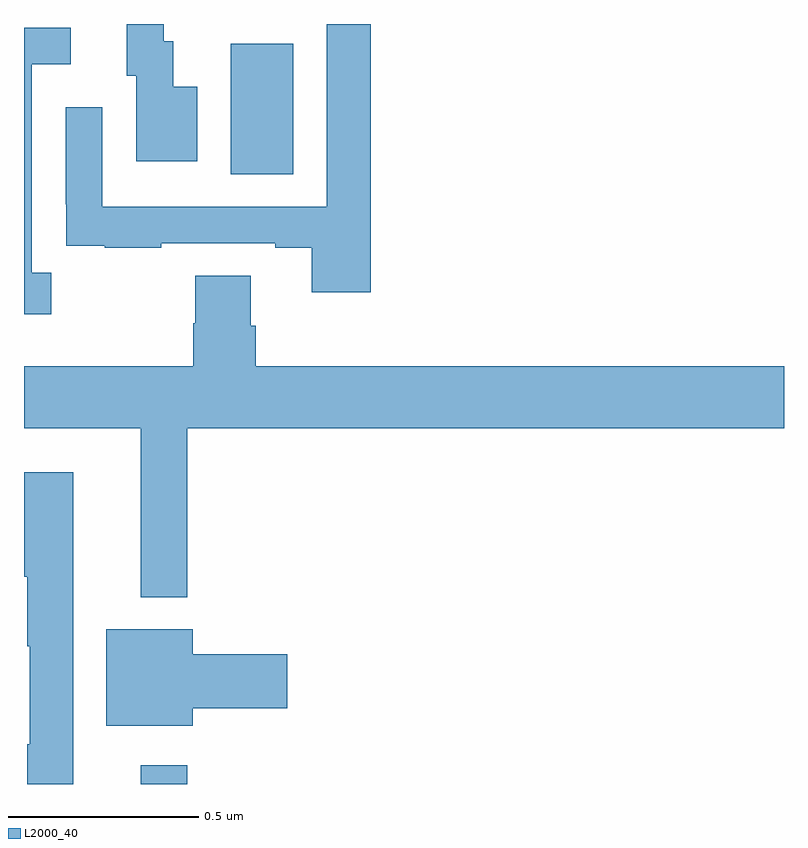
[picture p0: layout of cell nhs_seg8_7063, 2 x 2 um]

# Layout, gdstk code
import gdstk
lib = gdstk.Library(unit=1e-6, precision=1e-09)
def R(c, l, rs):  # rectangles x0, y0, x1, y1
    for r in rs: c.add(gdstk.rectangle(r[:2], r[2:], *l))
def P(c, l, *ps):  # polygons
    for p in ps: c.add(gdstk.Polygon(p, *l))
L2000_40 = (2000, 40)

nhs_seg8_7063 = lib.new_cell('nhs_seg8_7063')
R(nhs_seg8_7063, L2000_40, [(205.307,1112.9,205.429,1112.95), (205.544,1114.504,205.708,1114.848)])
P(nhs_seg8_7063, L2000_40, [(205.913,1114.9),(205.797,1114.9),(205.797,1114.419),(205.206,1114.419),(205.206,1114.681),(205.11,1114.681),(205.11,1114.426),(205.111,1114.426),(205.111,1114.317),(205.213,1114.317),(205.213,1114.311),(205.361,1114.311),(205.361,1114.323),(205.661,1114.323),(205.661,1114.311),(205.757,1114.311),(205.757,1114.194),(205.913,1114.194)],
  [(205.456,1114.735),(205.393,1114.735),(205.393,1114.854),(205.368,1114.854),(205.368,1114.9),(205.271,1114.9),(205.271,1114.764),(205.295,1114.764),(205.295,1114.539),(205.456,1114.539)],
  [(205.072,1114.246),(205.02,1114.246),(205.02,1114.794),(205.123,1114.794),(205.123,1114.89),(205,1114.89),(205,1114.136),(205.072,1114.136)],
  [(205.45,1114.238),(205.45,1114.113),(205.445,1114.113),(205.445,1114),(205,1114),(205,1113.836),(205.307,1113.836),(205.307,1113.392),(205.429,1113.392),(205.429,1113.836),(207,1113.836),(207,1114),(205.61,1114),(205.61,1114.106),(205.597,1114.106),(205.597,1114.238)],
  [(205.129,1113.721),(205,1113.721),(205,1113.446),(205.008,1113.446),(205.008,1113.262),(205.015,1113.262),(205.015,1113.005),(205.008,1113.005),(205.008,1112.9),(205.129,1112.9)],
  [(205.444,1113.1),(205.693,1113.1),(205.693,1113.242),(205.444,1113.242),(205.444,1113.307),(205.217,1113.307),(205.217,1113.053),(205.444,1113.053)])

lib.write_gds('nhs_seg8_7063.gds')
